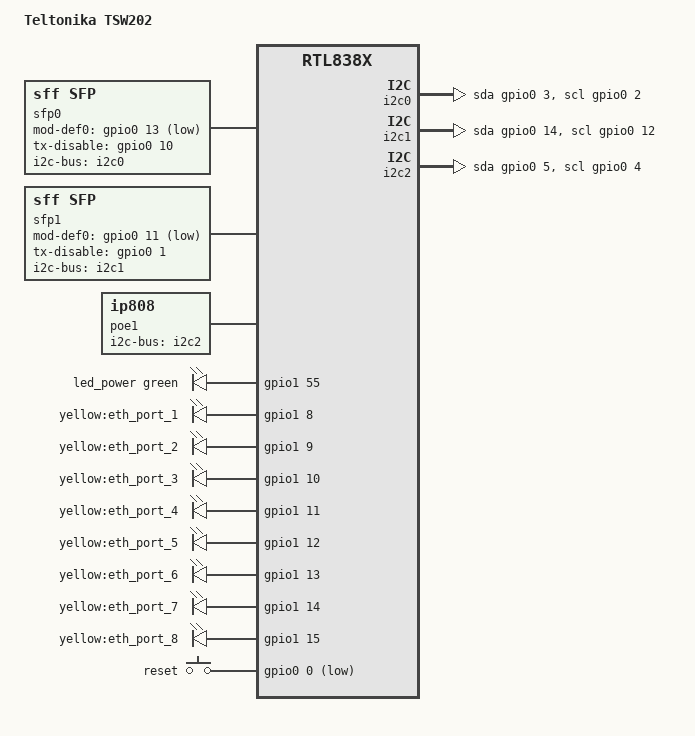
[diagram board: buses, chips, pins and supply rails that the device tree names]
// SPDX-License-Identifier: GPL-2.0-or-later

#include "rtl8380_teltonika_tsw.dtsi"

/ {
	compatible = "teltonika,tsw202", "realtek,rtl838x-soc";
	model = "Teltonika TSW202";

	/* i2c of the left SFP cage: port 9 */
	i2c0: i2c-gpio-0 {
		compatible = "i2c-gpio";
		sda-gpios = <&gpio0 3 (GPIO_ACTIVE_HIGH | GPIO_OPEN_DRAIN)>;
		scl-gpios = <&gpio0 2 (GPIO_ACTIVE_HIGH | GPIO_OPEN_DRAIN)>;
		i2c-gpio,delay-us = <2>;
		#address-cells = <1>;
		#size-cells = <0>;
	};

	sfp0: sfp-p9 {
		compatible = "sff,sfp";
		i2c-bus = <&i2c0>;
		mod-def0-gpio = <&gpio0 13 GPIO_ACTIVE_LOW>;
		tx-disable-gpio =  <&gpio0 10 GPIO_ACTIVE_HIGH>;
	};

	/* i2c of the right SFP cage: port 10 */
	i2c1: i2c-gpio-1 {
		compatible = "i2c-gpio";
		sda-gpios = <&gpio0 14 (GPIO_ACTIVE_HIGH | GPIO_OPEN_DRAIN)>;
		scl-gpios = <&gpio0 12 (GPIO_ACTIVE_HIGH | GPIO_OPEN_DRAIN)>;
		i2c-gpio,delay-us = <2>;
		#address-cells = <1>;
		#size-cells = <0>;
	};

	sfp1: sfp-p10 {
		compatible = "sff,sfp";
		i2c-bus = <&i2c1>;
		mod-def0-gpio = <&gpio0 11 GPIO_ACTIVE_LOW>;
		tx-disable-gpio = <&gpio0 1 GPIO_ACTIVE_HIGH>;
	};

	/* i2c of the POE chip */
	i2c2: i2c-gpio-2 {
		compatible = "i2c-gpio";
		sda-gpios = <&gpio0 5 (GPIO_ACTIVE_HIGH | GPIO_OPEN_DRAIN)>;
		scl-gpios = <&gpio0 4 (GPIO_ACTIVE_HIGH | GPIO_OPEN_DRAIN)>;
		i2c-gpio,delay-us = <2>;
		#address-cells = <1>;
		#size-cells = <0>;
	};

	poe1: poe@119 {
		compatible = "ip808";
		reg = <119>;
		i2c-bus = <&i2c2>;
	};

	leds: leds {
		pinctrl-names = "default";
		pinctrl-0 = <&pinmux_disable_sys_led>;
		compatible = "gpio-leds";

		led_power: led-0 {
			function = LED_FUNCTION_POWER;
			color = <LED_COLOR_ID_GREEN>;
			gpios = <&gpio1 55 GPIO_ACTIVE_HIGH>;
		};

		yellow_eth_port_1 {
			label = "yellow:eth_port_1";
			gpios = <&gpio1 8 GPIO_ACTIVE_HIGH>;
			linux,default-trigger = "timer";
		};

		yellow_eth_port_2 {
			label = "yellow:eth_port_2";
			gpios = <&gpio1 9 GPIO_ACTIVE_HIGH>;
			linux,default-trigger = "timer";
		};
		yellow_eth_port_3 {
			label = "yellow:eth_port_3";
			gpios = <&gpio1 10 GPIO_ACTIVE_HIGH>;
			linux,default-trigger = "timer";
		};
		yellow_eth_port_4 {
			label = "yellow:eth_port_4";
			gpios = <&gpio1 11 GPIO_ACTIVE_HIGH>;
			linux,default-trigger = "timer";
		};
		yellow_eth_port_5 {
			label = "yellow:eth_port_5";
			gpios = <&gpio1 12 GPIO_ACTIVE_HIGH>;
			linux,default-trigger = "timer";
		};
		yellow_eth_port_6 {
			label = "yellow:eth_port_6";
			gpios = <&gpio1 13 GPIO_ACTIVE_HIGH>;
			linux,default-trigger = "timer";
		};
		yellow_eth_port_7 {
			label = "yellow:eth_port_7";
			gpios = <&gpio1 14 GPIO_ACTIVE_HIGH>;
			linux,default-trigger = "timer";
		};
		yellow_eth_port_8 {
			label = "yellow:eth_port_8";
			gpios = <&gpio1 15 GPIO_ACTIVE_HIGH>;
			linux,default-trigger = "timer";
		};
	};

	keys {
		compatible = "gpio-keys-polled";
		poll-interval = <20>;

		reset {
			label = "reset";
			gpios = <&gpio0 0 GPIO_ACTIVE_LOW>;
			linux,code = <KEY_RESTART>;
		};
	};
};

&mdio_gpio {
	status = "okay";

	gpio1: expander@31 {
		compatible = "realtek,rtl8231";
		reg = <31>;

		gpio-controller;
		#gpio-cells = <2>;
		gpio-ranges = <&gpio1 0 0 37>;

		led-controller {
			compatible = "realtek,rtl8231-leds";
			status = "disabled";
		};
	};
};
